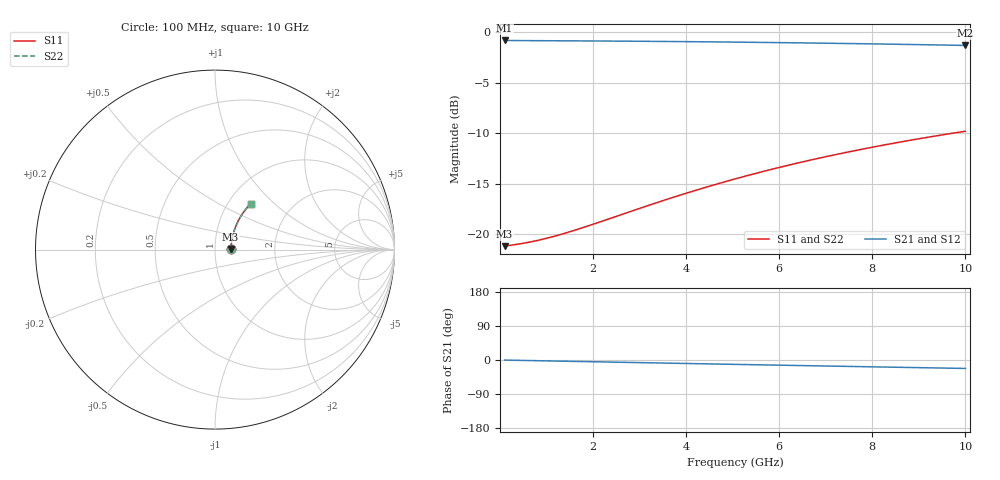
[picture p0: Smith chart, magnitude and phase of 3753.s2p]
# Hz S RI R 50.00
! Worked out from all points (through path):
!   100 points, 100 MHz to 10 GHz, reference 50 ohm
!   highest |S21| = -0.79 dB at 100 MHz (marker M1); lowest = -1.3 dB at 10 GHz (marker M2)
!   group delay of S21, straight-line fit = 6.2 ps
!   lowest |S11| = -21.2 dB at 100 MHz (marker M3), VSWR 1.19, Z = 59.5 + j0.357 ohm
!   |S11| at or under -10 dB: start of sweep to 9.716 GHz
!   |S22| runs from -21.2 to -9.8 dB; largest |S21 - S12| = 0
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1e8  0.0871 0.00298  0.9129 -0.00369  0.9129 -0.00369  0.0871 0.00298
5e8  0.0888 0.0148  0.9112 -0.0184  0.9112 -0.0184  0.0888 0.0148
7e8  0.0895 0.0207  0.9104 -0.0257  0.9104 -0.0257  0.0895 0.0207
9e8  0.0903 0.0266  0.9097 -0.033  0.9097 -0.033  0.0903 0.0266
1.1e9  0.091 0.0325  0.9089 -0.0403  0.9089 -0.0403  0.091 0.0325
1.3e9  0.0919 0.0383  0.9081 -0.0476  0.9081 -0.0476  0.0919 0.0383
1.5e9  0.0928 0.0442  0.9072 -0.0548  0.9072 -0.0548  0.0928 0.0442
1.8e9  0.0942 0.0529  0.9057 -0.0657  0.9057 -0.0657  0.0942 0.0529
2.6e9  0.099 0.0759  0.9008 -0.0944  0.9008 -0.0944  0.099 0.0759
3.4e9  0.1051 0.0984  0.8946 -0.1227  0.8946 -0.1227  0.1051 0.0984
3.9e9  0.1095 0.1122  0.8901 -0.1401  0.8901 -0.1401  0.1095 0.1122
4.3e9  0.1134 0.1231  0.8861 -0.1538  0.8861 -0.1538  0.1134 0.1231
4.7e9  0.1177 0.1339  0.8817 -0.1674  0.8817 -0.1674  0.1177 0.1339
5.1e9  0.1222 0.1444  0.8771 -0.1808  0.8771 -0.1808  0.1222 0.1444
5.5e9  0.1271 0.1547  0.8721 -0.194  0.8721 -0.194  0.1271 0.1547
5.9e9  0.1322 0.1649  0.8669 -0.207  0.8669 -0.207  0.1322 0.1649
6.3e9  0.1376 0.1748  0.8613 -0.2198  0.8613 -0.2198  0.1376 0.1748
6.7e9  0.1433 0.1845  0.8555 -0.2324  0.8555 -0.2324  0.1433 0.1845
7.5e9  0.1554 0.2033  0.843 -0.2569  0.843 -0.2569  0.1554 0.2033
8.4e9  0.1702 0.2232  0.8278 -0.2832  0.8278 -0.2832  0.1702 0.2232
9.2e9  0.1843 0.2398  0.8134 -0.3056  0.8134 -0.3056  0.1843 0.2398
1e10  0.1991 0.2553  0.7982 -0.3269  0.7982 -0.3269  0.1991 0.2553
